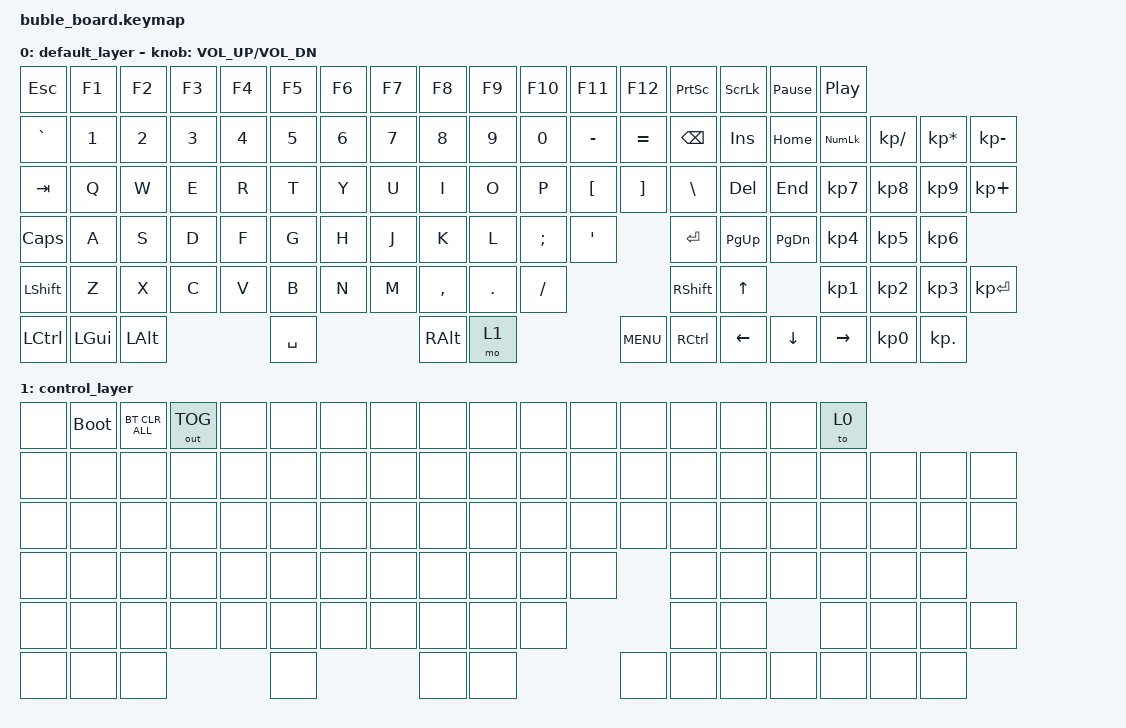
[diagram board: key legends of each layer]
#include <behaviors.dtsi>
#include <dt-bindings/zmk/bt.h>
#include <dt-bindings/zmk/keys.h>
#include <dt-bindings/zmk/outputs.h>

/ {
    keymap {
        compatible = "zmk,keymap";

        default_layer {
            bindings = <
&kp ESC    &kp F1    &kp F2    &kp F3  &kp F4  &kp F5     &kp F6  &kp F7  &kp F8         &kp F9   &kp F10   &kp F11    &kp F12     &kp PSCRN  &kp SCROLLLOCK  &kp PAUSE_BREAK  &kp C_PLAY_PAUSE
&kp GRAVE  &kp N1    &kp N2    &kp N3  &kp N4  &kp N5     &kp N6  &kp N7  &kp N8         &kp N9   &kp N0    &kp MINUS  &kp EQUAL              &kp BSPC        &kp INS          &kp HOME          &kp KP_NUMLOCK   &kp KP_SLASH     &kp KP_ASTERISK  &kp KP_MINUS
&kp TAB    &kp Q     &kp W     &kp E   &kp R   &kp T      &kp Y   &kp U   &kp I          &kp O    &kp P     &kp LBKT   &kp RBKT               &kp BSLH        &kp DEL          &kp END           &kp KP_NUMBER_7  &kp KP_NUMBER_8  &kp KP_NUMBER_9  &kp KP_PLUS
&kp CAPS   &kp A     &kp S     &kp D   &kp F   &kp G      &kp H   &kp J   &kp K          &kp L    &kp SEMI  &kp APOS                          &kp ENTER       &kp PG_UP        &kp PG_DN         &kp KP_NUMBER_4  &kp KP_NUMBER_5  &kp KP_NUMBER_6
&kp LSHFT  &kp Z     &kp X     &kp C   &kp V   &kp B      &kp N   &kp M   &kp COMMA      &kp DOT  &kp FSLH                                    &kp RSHFT       &kp UP                             &kp KP_NUMBER_1  &kp KP_NUMBER_2  &kp KP_NUMBER_3  &kp KP_ENTER
&kp LCTRL  &kp LGUI  &kp LALT                  &kp SPACE                  &kp RIGHT_ALT  &mo 1                         &kp C_MENU  &kp RCTRL  &kp LEFT        &kp DOWN         &kp RIGHT         &kp KP_NUMBER_0                   &kp KP_DOT
            >;

            sensor-bindings = <&inc_dec_kp C_VOL_UP C_VOL_DN>;
        };

        control_layer {
            bindings = <
&none  &bootloader  &bt BT_CLR_ALL  &out OUT_TOG  &none  &none  &none  &none  &none  &none  &none  &none  &none  &none  &none  &none  &to 0
&none  &none        &none           &none         &none  &none  &none  &none  &none  &none  &none  &none  &none         &none  &none  &none  &none  &none  &none  &none
&none  &none        &none           &none         &none  &none  &none  &none  &none  &none  &none  &none  &none         &none  &none  &none  &none  &none  &none  &none
&none  &none        &none           &none         &none  &none  &none  &none  &none  &none  &none  &none                &none  &none  &none  &none  &none  &none
&none  &none        &none           &none         &none  &none  &none  &none  &none  &none  &none                       &none  &none         &none  &none  &none  &none
&none  &none        &none                                &none                &none  &none                &none  &none  &none  &none  &none  &none         &none
            >;
        };
    };
};
